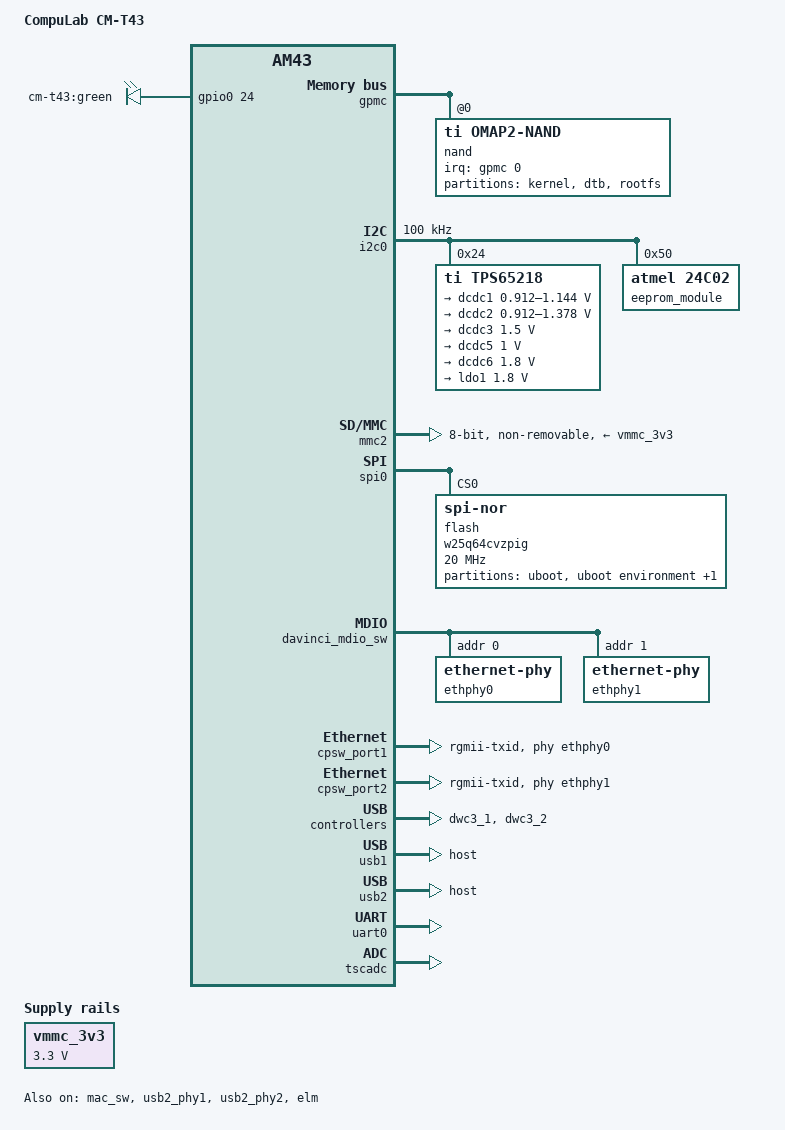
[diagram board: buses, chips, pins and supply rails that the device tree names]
// SPDX-License-Identifier: GPL-2.0-only
/*
 * Copyright (C) 2015 CompuLab, Ltd. - http://www.compulab.co.il/
 */

/dts-v1/;

#include <dt-bindings/pinctrl/am43xx.h>
#include <dt-bindings/gpio/gpio.h>
#include <dt-bindings/interrupt-controller/irq.h>
#include "am4372.dtsi"

/ {
	model = "CompuLab CM-T43";
	compatible = "compulab,am437x-cm-t43", "ti,am4372", "ti,am43";

	leds {
		compatible = "gpio-leds";

		ledb {
			label = "cm-t43:green";
			gpios = <&gpio0 24 GPIO_ACTIVE_HIGH>;
			linux,default-trigger = "heartbeat";
		};
	};

	vmmc_3v3: fixedregulator-v3_3 {
		compatible = "regulator-fixed";
		regulator-name = "vmmc_3v3";
		regulator-min-microvolt = <3300000>;
		regulator-max-microvolt = <3300000>;
		regulator-always-on;
		enable-active-high;
	};
};

&am43xx_pinmux {
	pinctrl-names = "default";
	pinctrl-0 = <&cm_t43_led_pins>;

	cm_t43_led_pins: cm_t43_led_pins {
		pinctrl-single,pins = <
			AM4372_IOPAD(0xa78, MUX_MODE7)
		>;
	};

	i2c0_pins: i2c0_pins {
		pinctrl-single,pins = <
			AM4372_IOPAD(0x988, PIN_INPUT_PULLUP | SLEWCTRL_FAST | MUX_MODE0)  /* i2c0_sda.i2c0_sda */
			AM4372_IOPAD(0x98c, PIN_INPUT_PULLUP | SLEWCTRL_FAST | MUX_MODE0)  /* i2c0_scl.i2c0_scl */
		>;
	};

	emmc_pins: emmc_pins {
		pinctrl-single,pins = <
			AM4372_IOPAD(0x820, PIN_INPUT_PULLUP | MUX_MODE2) /* gpmc_ad8.mmc1_dat0 */
			AM4372_IOPAD(0x824, PIN_INPUT_PULLUP | MUX_MODE2) /* gpmc_ad9.mmc1_dat1 */
			AM4372_IOPAD(0x828, PIN_INPUT_PULLUP | MUX_MODE2) /* gpmc_ad10.mmc1_dat2 */
			AM4372_IOPAD(0x82c, PIN_INPUT_PULLUP | MUX_MODE2) /* gpmc_ad11.mmc1_dat3 */
			AM4372_IOPAD(0x830, PIN_INPUT_PULLUP | MUX_MODE2) /* gpmc_ad12.mmc1_dat4 */
			AM4372_IOPAD(0x834, PIN_INPUT_PULLUP | MUX_MODE2) /* gpmc_ad13.mmc1_dat5 */
			AM4372_IOPAD(0x838, PIN_INPUT_PULLUP | MUX_MODE2) /* gpmc_ad14.mmc1_dat6 */
			AM4372_IOPAD(0x83c, PIN_INPUT_PULLUP | MUX_MODE2) /* gpmc_ad15.mmc1_dat7 */
			AM4372_IOPAD(0x880, PIN_INPUT_PULLUP | MUX_MODE2) /* gpmc_csn1.mmc1_clk */
			AM4372_IOPAD(0x884, PIN_INPUT_PULLUP | MUX_MODE2) /* gpmc_csn2.mmc1_cmd */
		>;
	};

	spi0_pins: pinmux_spi0_pins {
		pinctrl-single,pins = <
			AM4372_IOPAD(0x950, PIN_INPUT | MUX_MODE0) /* spi0_sclk.spi0_sclk */
			AM4372_IOPAD(0x954, PIN_INPUT | MUX_MODE0) /* spi0_d0.spi0_d0 */
			AM4372_IOPAD(0x958, PIN_OUTPUT | MUX_MODE0) /* spi0_d1.spi0_d1 */
			AM4372_IOPAD(0x95C, PIN_OUTPUT | MUX_MODE0) /* spi0_cs0.spi0_cs0 */
		>;
	};

	nand_flash_x8: nand_flash_x8 {
		pinctrl-single,pins = <
			AM4372_IOPAD(0x800, PIN_INPUT | PULL_DISABLE | MUX_MODE0)
			AM4372_IOPAD(0x804, PIN_INPUT | PULL_DISABLE | MUX_MODE0)
			AM4372_IOPAD(0x808, PIN_INPUT | PULL_DISABLE | MUX_MODE0)
			AM4372_IOPAD(0x80c, PIN_INPUT | PULL_DISABLE | MUX_MODE0)
			AM4372_IOPAD(0x810, PIN_INPUT | PULL_DISABLE | MUX_MODE0)
			AM4372_IOPAD(0x814, PIN_INPUT | PULL_DISABLE | MUX_MODE0)
			AM4372_IOPAD(0x818, PIN_INPUT | PULL_DISABLE | MUX_MODE0)
			AM4372_IOPAD(0x81c, PIN_INPUT | PULL_DISABLE | MUX_MODE0)
			AM4372_IOPAD(0x870, PIN_INPUT_PULLUP  | MUX_MODE0)
			AM4372_IOPAD(0x874, PIN_OUTPUT_PULLUP | MUX_MODE0)
			AM4372_IOPAD(0x87c, PIN_OUTPUT_PULLUP | MUX_MODE0)
			AM4372_IOPAD(0x898, PIN_OUTPUT_PULLDOWN | MUX_MODE0)
			AM4372_IOPAD(0x894, PIN_OUTPUT_PULLDOWN | MUX_MODE0)
			AM4372_IOPAD(0x890, PIN_OUTPUT_PULLDOWN | MUX_MODE0)
			AM4372_IOPAD(0x89c, PIN_OUTPUT_PULLDOWN | MUX_MODE0)
		>;
	};

	cpsw_default: cpsw_default {
		pinctrl-single,pins = <
			/* Slave 1 */
			AM4372_IOPAD(0x914, PIN_OUTPUT_PULLDOWN | MUX_MODE2)	/* mii1_txen.rgmii1_txen */
			AM4372_IOPAD(0x918, PIN_INPUT_PULLDOWN | MUX_MODE2)	/* mii1_rxdv.rgmii1_rxctl */
			AM4372_IOPAD(0x91c, PIN_OUTPUT_PULLDOWN | MUX_MODE2)	/* mii1_txd1.rgmii1_txd3 */
			AM4372_IOPAD(0x920, PIN_OUTPUT_PULLDOWN | MUX_MODE2)	/* mii1_txd0.rgmii1_txd2 */
			AM4372_IOPAD(0x924, PIN_OUTPUT_PULLDOWN | MUX_MODE2)	/* mii1_txd1.rgmii1_txd1 */
			AM4372_IOPAD(0x928, PIN_OUTPUT_PULLDOWN | MUX_MODE2)	/* mii1_txd0.rgmii1_txd0 */
			AM4372_IOPAD(0x92c, PIN_OUTPUT_PULLDOWN | MUX_MODE2)	/* mii1_txclk.rmii1_tclk */
			AM4372_IOPAD(0x930, PIN_INPUT_PULLDOWN | MUX_MODE2)	/* mii1_rxclk.rmii1_rclk */
			AM4372_IOPAD(0x934, PIN_INPUT_PULLDOWN | MUX_MODE2)	/* mii1_rxd1.rgmii1_rxd3 */
			AM4372_IOPAD(0x938, PIN_INPUT_PULLDOWN | MUX_MODE2)	/* mii1_rxd0.rgmii1_rxd2 */
			AM4372_IOPAD(0x93c, PIN_INPUT_PULLDOWN | MUX_MODE2)	/* mii1_rxd1.rgmii1_rxd1 */
			AM4372_IOPAD(0x940, PIN_INPUT_PULLDOWN | MUX_MODE2)	/* mii1_rxd0.rgmii1_rxd0 */
			AM4372_IOPAD(0xa74, MUX_MODE3)
			/* Slave 2 */
			AM4372_IOPAD(0x840, PIN_OUTPUT_PULLDOWN | MUX_MODE2)	/* gpmc_a0.txen */
			AM4372_IOPAD(0x844, PIN_INPUT_PULLDOWN  | MUX_MODE2)	/* gpmc_a1.rxctl */
			AM4372_IOPAD(0x848, PIN_OUTPUT_PULLDOWN | MUX_MODE2)	/* gpmc_a2.txd3 */
			AM4372_IOPAD(0x84c, PIN_OUTPUT_PULLDOWN | MUX_MODE2)	/* gpmc_a3.txd2 */
			AM4372_IOPAD(0x850, PIN_OUTPUT_PULLDOWN | MUX_MODE2)	/* gpmc_a4.txd1 */
			AM4372_IOPAD(0x854, PIN_OUTPUT_PULLDOWN | MUX_MODE2)	/* gpmc_a5.txd0 */
			AM4372_IOPAD(0x858, PIN_OUTPUT_PULLDOWN | MUX_MODE2)	/* gpmc_a6.tclk */
			AM4372_IOPAD(0x85c, PIN_INPUT_PULLDOWN  | MUX_MODE2)	/* gpmc_a7.rclk */
			AM4372_IOPAD(0x860, PIN_INPUT_PULLDOWN  | MUX_MODE2)	/* gpmc_a8.rxd3 */
			AM4372_IOPAD(0x864, PIN_INPUT_PULLDOWN  | MUX_MODE2)	/* gpmc_a9.rxd2 */
			AM4372_IOPAD(0x868, PIN_INPUT_PULLDOWN  | MUX_MODE2)	/* gpmc_a10.rxd1 */
			AM4372_IOPAD(0x86c, PIN_INPUT_PULLDOWN  | MUX_MODE2)	/* gpmc_a11.rxd0 */
			AM4372_IOPAD(0xa38, MUX_MODE7)
		>;
	};

	davinci_mdio_default: davinci_mdio_default {
		pinctrl-single,pins = <
			/* MDIO */
			AM4372_IOPAD(0x948, PIN_INPUT_PULLUP | SLEWCTRL_FAST | MUX_MODE0)	/* mdio_data.mdio_data */
			AM4372_IOPAD(0x94c, PIN_OUTPUT_PULLUP | MUX_MODE0)			/* mdio_clk.mdio_clk */
		>;
	};
};

&gpmc {
	status = "okay";
	pinctrl-names = "default";
	pinctrl-0 = <&nand_flash_x8>;
	ranges = <0 0 0x08000000 0x1000000>;
	nand@0,0 {
		compatible = "ti,omap2-nand";
		reg = <0 0 4>;		/* CS0, offset 0, IO size 4 */
		interrupt-parent = <&gpmc>;
		interrupts = <0 IRQ_TYPE_NONE>, /* fifoevent */
			     <1 IRQ_TYPE_NONE>;	/* termcount */
		ti,nand-ecc-opt = "bch8";
		ti,elm-id = <&elm>;

		nand-bus-width = <8>;
		gpmc,device-width = <1>;
		gpmc,sync-clk-ps = <0>;
		gpmc,cs-on-ns = <0>;
		gpmc,cs-rd-off-ns = <44>;
		gpmc,cs-wr-off-ns = <44>;
		gpmc,adv-on-ns = <6>;
		gpmc,adv-rd-off-ns = <34>;
		gpmc,adv-wr-off-ns = <44>;
		gpmc,we-on-ns = <0>;
		gpmc,we-off-ns = <40>;
		gpmc,oe-on-ns = <0>;
		gpmc,oe-off-ns = <54>;
		gpmc,access-ns = <64>;
		gpmc,rd-cycle-ns = <82>;
		gpmc,wr-cycle-ns = <82>;
		gpmc,bus-turnaround-ns = <0>;
		gpmc,cycle2cycle-delay-ns = <0>;
		gpmc,clk-activation-ns = <0>;
		gpmc,wr-access-ns = <40>;
		gpmc,wr-data-mux-bus-ns = <0>;

		#address-cells = <1>;
		#size-cells = <1>;
		/* MTD partition table */
		partition@0 {
			label = "kernel";
			reg = <0x0 0x00980000>;
		};
		partition@980000 {
			label = "dtb";
			reg = <0x00980000 0x00080000>;
		};
		partition@a00000 {
			label = "rootfs";
			reg = <0x00a00000 0x0>;
		};
	};
};

&i2c0 {
	status = "okay";
	pinctrl-names = "default";
	pinctrl-0 = <&i2c0_pins>;
	clock-frequency = <100000>;

	tps65218: tps65218@24 {
		compatible = "ti,tps65218";
		reg = <0x24>;
		interrupts = <GIC_SPI 7 IRQ_TYPE_LEVEL_HIGH>; /* NMIn */
		interrupt-parent = <&gic>;
		interrupt-controller;
		#interrupt-cells = <2>;

		dcdc1: regulator-dcdc1 {
			regulator-name = "vdd_core";
			regulator-min-microvolt = <912000>;
			regulator-max-microvolt = <1144000>;
			regulator-boot-on;
			regulator-always-on;
		};

		dcdc2: regulator-dcdc2 {
			regulator-name = "vdd_mpu";
			regulator-min-microvolt = <912000>;
			regulator-max-microvolt = <1378000>;
			regulator-boot-on;
			regulator-always-on;
		};

		dcdc3: regulator-dcdc3 {
			regulator-name = "vdcdc3";
			regulator-suspend-enable;
			regulator-min-microvolt = <1500000>;
			regulator-max-microvolt = <1500000>;
			regulator-boot-on;
			regulator-always-on;
		};

		dcdc5: regulator-dcdc5 {
			regulator-name = "v1_0bat";
			regulator-min-microvolt = <1000000>;
			regulator-max-microvolt = <1000000>;
			regulator-boot-on;
			regulator-always-on;
		};

		dcdc6: regulator-dcdc6 {
			regulator-name = "v1_8bat";
			regulator-min-microvolt = <1800000>;
			regulator-max-microvolt = <1800000>;
			regulator-boot-on;
			regulator-always-on;
		};

		ldo1: regulator-ldo1 {
			regulator-min-microvolt = <1800000>;
			regulator-max-microvolt = <1800000>;
			regulator-boot-on;
			regulator-always-on;
		};
	};

	eeprom_module: at24@50 {
		compatible = "atmel,24c02";
		reg = <0x50>;
		pagesize = <16>;
	};
};

&gpio0 {
	status = "okay";
};

&gpio1 {
	status = "okay";
};

&gpio2 {
	status = "okay";
};

&gpio3 {
	status = "okay";
};

&gpio4 {
	status = "okay";
};

&gpio5 {
	status = "okay";
};

&mmc2 {
	status = "okay";
	pinctrl-names = "default";
	pinctrl-0 = <&emmc_pins>;
	vmmc-supply = <&vmmc_3v3>;
	bus-width = <8>;
	non-removable;
};

&spi0 {
	status = "okay";
	pinctrl-names = "default";
	pinctrl-0 = <&spi0_pins>;
	dmas = <&edma 16 0
		&edma 17 0>;
	dma-names = "tx0", "rx0";

	flash: w25q64cvzpig@0 {
		#address-cells = <1>;
		#size-cells = <1>;
		compatible = "jedec,spi-nor";
		reg = <0>;
		spi-max-frequency = <20000000>;
		partition@0 {
			label = "uboot";
			reg = <0x0 0xc0000>;
		};

		partition@c0000 {
			label = "uboot environment";
			reg = <0xc0000 0x40000>;
		};

		partition@100000 {
			label = "reserved";
			reg = <0x100000 0x100000>;
		};
	};
};

&mac_sw {
	pinctrl-names = "default";
	pinctrl-0 = <&cpsw_default>;
	status = "okay";
};

&davinci_mdio_sw {
	pinctrl-names = "default";
	pinctrl-0 = <&davinci_mdio_default>;

	ethphy0: ethernet-phy@0 {
		reg = <0>;
	};

	ethphy1: ethernet-phy@1 {
		reg = <1>;
	};
};

&cpsw_port1 {
	phy-handle = <&ethphy0>;
	phy-mode = "rgmii-txid";
	ti,dual-emac-pvid = <1>;
};

&cpsw_port2 {
	phy-handle = <&ethphy1>;
	phy-mode = "rgmii-txid";
	ti,dual-emac-pvid = <2>;
};

&dwc3_1 {
	status = "okay";
};

&usb2_phy1 {
	status = "okay";
};

&usb1 {
	dr_mode = "host";
	status = "okay";
};

&dwc3_2 {
	status = "okay";
};

&usb2_phy2 {
	status = "okay";
};

&usb2 {
	dr_mode = "host";
	status = "okay";
	interrupts = <GIC_SPI 174 IRQ_TYPE_LEVEL_HIGH>,
		     <GIC_SPI 174 IRQ_TYPE_LEVEL_HIGH>,
		     <GIC_SPI 178 IRQ_TYPE_LEVEL_HIGH>;
	interrupt-names = "peripheral", "host", "otg";
};

&elm {
	status = "okay";
};

&uart0 {
	status = "okay";
};

&tscadc {
	status = "okay";
	tsc {
		ti,wires = <4>;
		ti,x-plate-resistance = <200>;
		ti,coordiante-readouts = <5>;
		ti,wire-config = <0x00 0x11 0x22 0x33>;
	};

	adc {
		ti,adc-channels = <4 5 6 7>;
	};
};

&cpu {
	cpu0-supply = <&dcdc2>;
	operating-points = <1000000 1330000>,
			   <800000 1260000>,
			   <720000 1200000>,
			   <600000 1100000>,
			   <300000 950000>;
};

&pruss1_mdio {
	status = "disabled";
};
